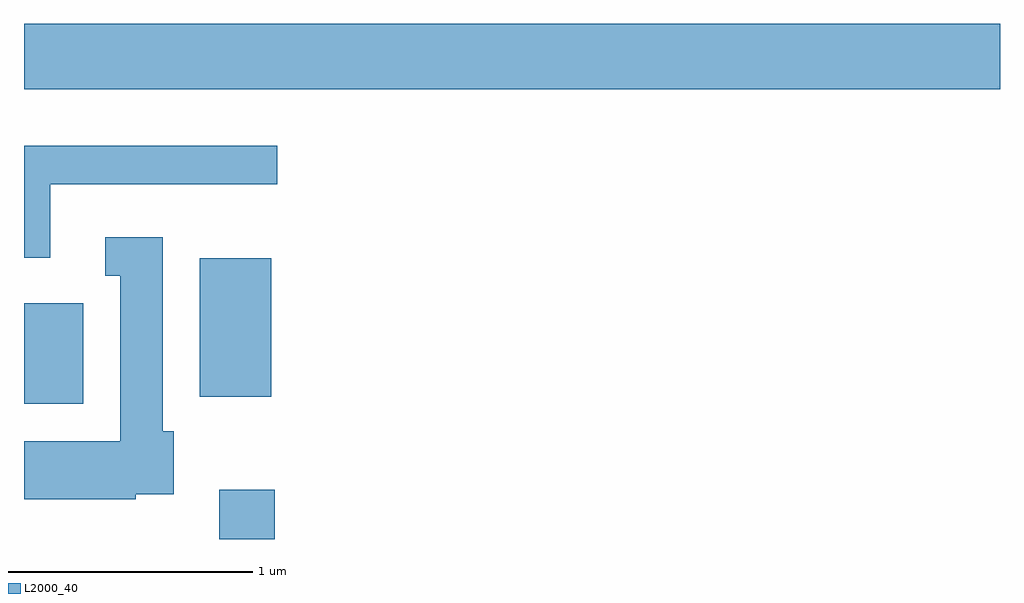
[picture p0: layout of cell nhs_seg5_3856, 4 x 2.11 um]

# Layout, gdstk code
import gdstk
lib = gdstk.Library(unit=1e-6, precision=1e-09)
def R(c, l, rs):  # rectangles x0, y0, x1, y1
    for r in rs: c.add(gdstk.rectangle(r[:2], r[2:], *l))
def P(c, l, *ps):  # polygons
    for p in ps: c.add(gdstk.Polygon(p, *l))
L2000_40 = (2000, 40)

nhs_seg5_3856 = lib.new_cell('nhs_seg5_3856')
R(nhs_seg5_3856, L2000_40, [(300.411,1446.072,300.639,1446.274), (299.611,1446.626,299.854,1447.039), (300.331,1446.656,300.624,1447.224), (299.611,1447.916,303.611,1448.184)])
P(nhs_seg5_3856, L2000_40, [(299.719,1447.526),(300.648,1447.526),(300.648,1447.684),(299.611,1447.684),(299.611,1447.226),(299.719,1447.226)],
  [(300.069,1446.256),(300.224,1446.256),(300.224,1446.514),(300.179,1446.514),(300.179,1447.309),(299.943,1447.309),(299.943,1447.151),(300.006,1447.151),(300.006,1446.474),(299.611,1446.474),(299.611,1446.236),(300.069,1446.236)])

lib.write_gds('nhs_seg5_3856.gds')
